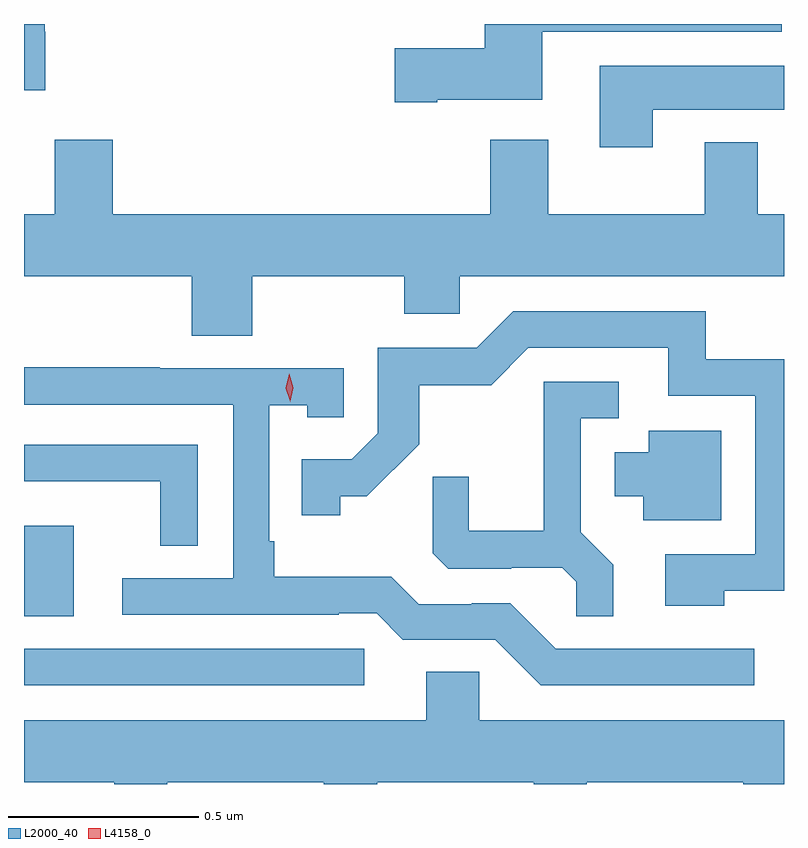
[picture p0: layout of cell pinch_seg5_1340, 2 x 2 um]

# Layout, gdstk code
import gdstk
lib = gdstk.Library(unit=1e-6, precision=1e-09)
def R(c, l, rs):  # rectangles x0, y0, x1, y1
    for r in rs: c.add(gdstk.rectangle(r[:2], r[2:], *l))
def P(c, l, *ps):  # polygons
    for p in ps: c.add(gdstk.Polygon(p, *l))
L2000_40 = (2000, 40)
L4158_0 = (4158, 0)

pinch_seg5_1340 = lib.new_cell('pinch_seg5_1340')
R(pinch_seg5_1340, L2000_40, [(420.548,853.02,421.444,853.116), (420.548,853.201,420.679,853.44)])
P(pinch_seg5_1340, L2000_40, [(421.636,854.561),(421.912,854.561),(421.912,854.739),(422.542,854.739),(422.542,854.76),(421.76,854.76),(421.76,854.696),(421.524,854.696),(421.524,854.554),(421.636,854.554)],
  [(420.604,854.739),(420.602,854.739),(420.602,854.76),(420.548,854.76),(420.548,854.586),(420.604,854.586)],
  [(422.203,854.534),(422.548,854.534),(422.548,854.65),(422.063,854.65),(422.063,854.436),(422.203,854.436)],
  [(421.149,854.096),(421.549,854.096),(421.549,853.998),(421.695,853.998),(421.695,854.096),(422.548,854.096),(422.548,854.26),(422.479,854.26),(422.479,854.449),(422.339,854.449),(422.339,854.26),(421.927,854.26),(421.927,854.455),(421.775,854.455),(421.775,854.26),(420.782,854.26),(420.782,854.455),(420.629,854.455),(420.629,854.26),(420.548,854.26),(420.548,854.096),(420.989,854.096),(420.989,853.939),(421.149,853.939)],
  [(422.391,853.269),(422.548,853.269),(422.548,853.878),(422.342,853.878),(422.342,854.004),(421.836,854.004),(421.74,853.908),(421.479,853.908),(421.479,853.683),(421.41,853.614),(421.279,853.614),(421.279,853.467),(421.38,853.467),(421.38,853.517),(421.45,853.517),(421.588,853.654),(421.588,853.81),(421.777,853.81),(421.875,853.908),(422.243,853.908),(422.243,853.782),(422.472,853.782),(422.472,853.365),(422.235,853.365),(422.235,853.229),(422.391,853.229)],
  [(422.47,853.116),(421.947,853.116),(421.827,853.236),(421.726,853.236),(421.726,853.233),(421.587,853.233),(421.514,853.306),(421.207,853.306),(421.207,853.399),(421.194,853.399),(421.194,853.757),(421.293,853.757),(421.293,853.725),(421.389,853.725),(421.389,853.854),(420.905,853.854),(420.905,853.857),(420.548,853.857),(420.548,853.758),(421.098,853.758),(421.098,853.302),(420.807,853.302),(420.807,853.206),(421.376,853.206),(421.376,853.209),(421.476,853.209),(421.545,853.14),(421.788,853.14),(421.908,853.02),(422.47,853.02)],
  [(422.099,853.337),(422.013,853.423),(422.013,853.722),(422.113,853.722),(422.113,853.818),(421.916,853.818),(421.916,853.426),(421.718,853.426),(421.718,853.569),(421.624,853.569),(421.624,853.367),(421.665,853.326),(421.83,853.326),(421.83,853.329),(421.964,853.329),(422.001,853.292),(422.001,853.201),(422.099,853.201)],
  [(422.383,853.69),(422.192,853.69),(422.192,853.633),(422.102,853.633),(422.102,853.517),(422.177,853.517),(422.177,853.454),(422.383,853.454)],
  [(421.005,853.653),(420.548,853.653),(420.548,853.557),(420.907,853.557),(420.907,853.387),(421.005,853.387)],
  [(420.925,852.764),(421.337,852.764),(421.337,852.76),(421.477,852.76),(421.477,852.764),(421.889,852.764),(421.889,852.76),(422.029,852.76),(422.029,852.764),(422.441,852.764),(422.441,852.76),(422.548,852.76),(422.548,852.928),(421.746,852.928),(421.746,853.055),(421.607,853.055),(421.607,852.928),(420.548,852.928),(420.548,852.764),(420.785,852.764),(420.785,852.76),(420.925,852.76)])
P(pinch_seg5_1340, L4158_0, [(421.248,853.766),(421.248,853.767),(421.237,853.802),(421.246,853.839),(421.246,853.839),(421.246,853.839),(421.257,853.803),(421.249,853.767)])

lib.write_gds('pinch_seg5_1340.gds')
